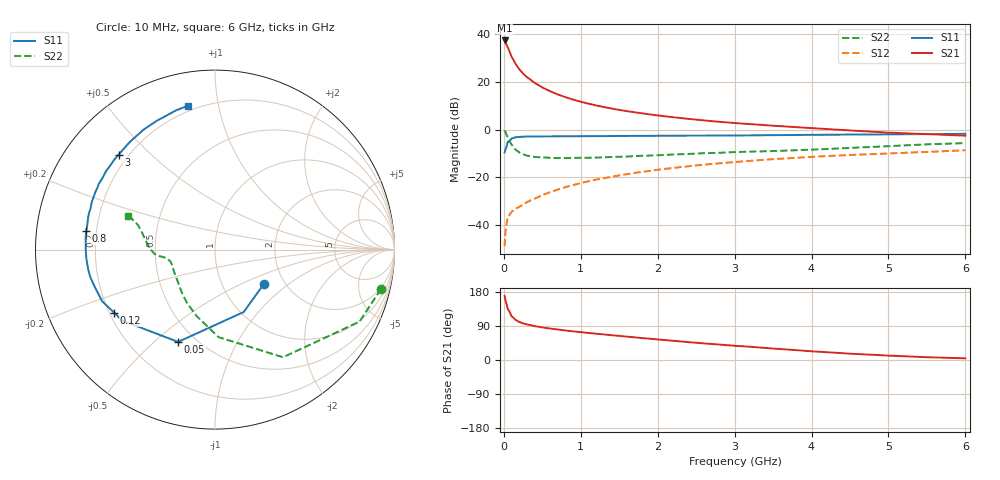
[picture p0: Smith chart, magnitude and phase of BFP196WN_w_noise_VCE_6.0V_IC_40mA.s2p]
! Infineon Technologies  Discrete & RF Semiconductors
! BFP196WN
! VCE =  6.0 V,  IC =  40 mA
! Common Emitter S-Parameters:  Jan 2017
# GHz  S  MA  R  50
!  f  S11  S21  S12  S22
! GHz  MAG  ANG  MAG  ANG  MAG  ANG  MAG  ANG
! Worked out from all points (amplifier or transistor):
!   77 points, 10 MHz to 6 GHz, reference 50 ohm
!   highest |S21| = 37.4 dB at 10 MHz (marker M1)
!   |S21| within 3 dB of that: start of sweep to 52.71 MHz
!   unconditionally stable (mu >= 1): 693.1 MHz to 2.685 GHz
!   at 130 MHz: K = 0.48, MSG = 31.3 dB, |S12| = -33.7 dB
!   at 2.2 GHz: K = 1.02, MAG = 9.7 dB, |S12| = -16.1 dB
!   at 6 GHz: K = 0.90, MSG = 3.0 dB, |S12| = -8.7 dB
!   lowest NFmin = 1.16 dB at 450 MHz
!   S11 on the Smith chart (normalised r, x): 10 MHz: 1.57, -0.68; 50 MHz: 0.40, -0.60; 120 MHz: 0.22, -0.27; 800 MHz: 0.16, +0.07; 3 GHz: 0.16, +0.40; 6 GHz: 0.17, +0.81
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0.01  0.3328 -35.2  73.96 169.4  0.0036 81.9  0.9503 -13.4
0.02  0.3828 -65.3  68.62 158.1  0.0069 79.7  0.8997 -26.5
0.05  0.5537 -111.8  53.55 134.6  0.0144 53.6  0.7095 -57.7
0.1  0.6502 -142.5  33.88 115.3  0.0188 48.1  0.4882 -87.7
0.12  0.6626 -147.9  29.91 112.3  0.02 47.2  0.441 -93.9
0.15  0.6917 -155.5  24.17 106.1  0.0219 46.1  0.3828 -105.8
0.2  0.7015 -162.9  18.54 100.5  0.024 49.3  0.3332 -118.3
0.25  0.7117 -167.7  15.01 96.6  0.027 51.7  0.305 -126.8
0.3  0.7155 -171.4  12.6 93.8  0.0301 54.2  0.2846 -133.9
0.4  0.7188 -176.5  9.54 89.3  0.0357 58.8  0.2675 -143.1
0.5  0.7202 179.8  7.65 85.9  0.0422 61.1  0.261 -149.7
0.6  0.7213 176.9  6.394 83.0  0.0487 63.1  0.2571 -154.4
0.7  0.7237 174.3  5.477 80.5  0.0553 64.9  0.2532 -157.5
0.8  0.7254 171.8  4.797 77.9  0.0623 66.2  0.2534 -159.7
1.1  0.7294 165.6  3.498 71.4  0.0825 66.7  0.2574 -165.1
1.5  0.736 158.7  2.587 63.6  0.1096 65.9  0.2687 -169.1
2.1  0.7433 149.1  1.9 52.5  0.1504 62.9  0.2953 -172.1
3  0.7542 135.4  1.374 37.6  0.2089 56.5  0.3382 -176.0
3.1  0.7554 133.9  1.339 36.3  0.2151 55.7  0.3414 -176.7
4.1  0.7789 119.5  1.051 21.8  0.2732 47.4  0.3861 173.2
5.1  0.7968 108.7  0.852 10.8  0.3208 40.0  0.4576 161.8
6  0.8152 100.7  0.745 4.4  0.3693 34.0  0.5208 158.8
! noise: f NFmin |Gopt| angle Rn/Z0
0.45  1.16  0.5  -179  0.04
0.9  1.29  0.54  -173  0.05
1.9  2.21  0.68  -148  0.13
2.4  2.95  0.69  -141  0.26
